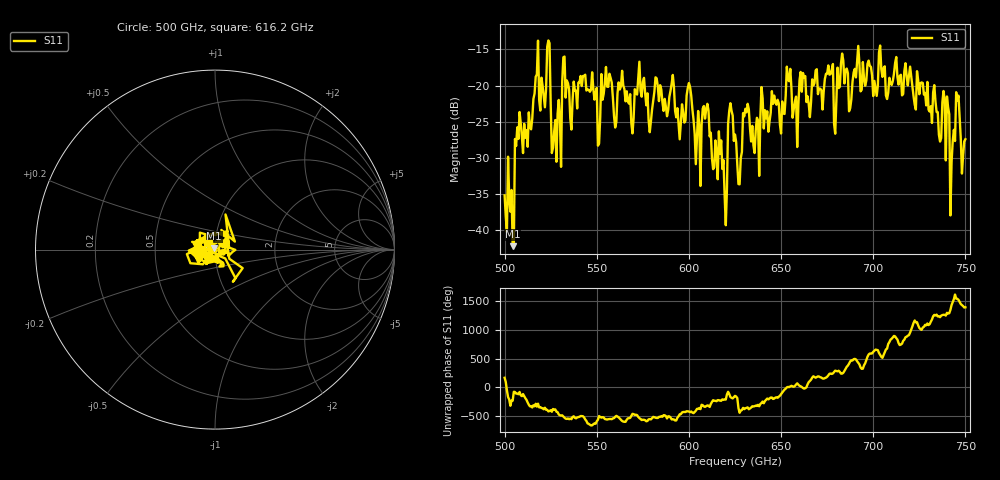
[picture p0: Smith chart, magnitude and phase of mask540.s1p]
!Created with skrf (http://scikit-rf.org).
# GHz S MA R 50.0
!freq magS11 angS11
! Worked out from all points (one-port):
!   401 points, 500 GHz to 750 GHz, reference 50 ohm
!   lowest |S11| = -42.2 dB at 504.4 GHz (marker M1), VSWR 1.02, Z = 49.6 + j0.63 ohm
!   |S11| at or under -10 dB: start of sweep to end of sweep
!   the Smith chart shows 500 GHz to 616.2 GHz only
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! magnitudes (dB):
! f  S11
! 500 GHz  -35.2
! 504.4 GHz  -42.2
! 506.9 GHz  -25.8
! 513.8 GHz  -25.8
! 516.9 GHz  -18.8
! 523.8 GHz  -13.8
! 526.9 GHz  -26.4
! 531.2 GHz  -19.5
! 562.5 GHz  -20.6
! 579.4 GHz  -25.0
! 590.6 GHz  -19.7
! 593.8 GHz  -23.1
! 600 GHz  -19.6
! 605 GHz  -23.5
! 609.4 GHz  -23.3
! 619.4 GHz  -35.2
! 622.5 GHz  -22.4
! 625 GHz  -26.8
! 627.5 GHz  -33.7
! 630.6 GHz  -23.2
! 636.9 GHz  -24.5
! 656.2 GHz  -24.4
! 687.5 GHz  -23.1
! 718.8 GHz  -20.0
! 739.4 GHz  -30.3
! 743.1 GHz  -27.7
! 745.6 GHz  -22.1
! 750 GHz  -27.4
